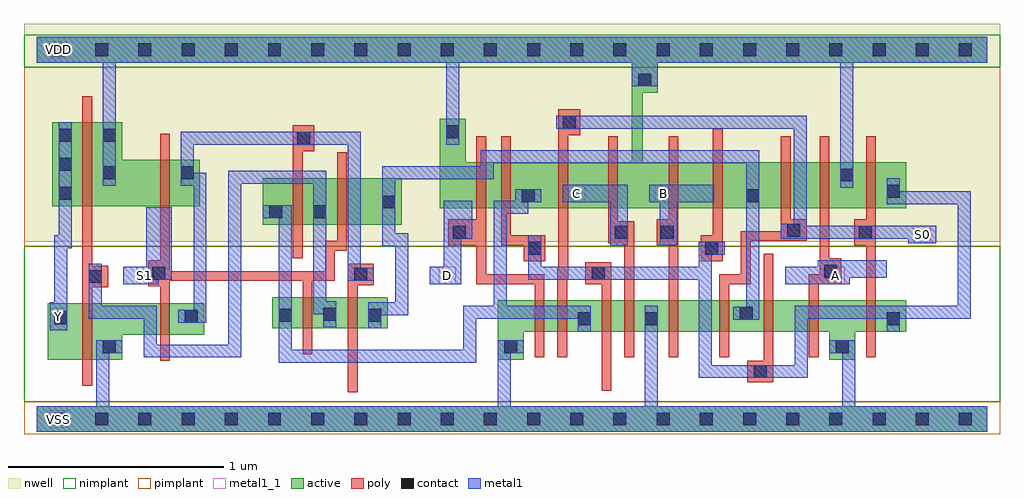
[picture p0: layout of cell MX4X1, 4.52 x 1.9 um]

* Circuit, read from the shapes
.subckt MX4X1 A B C D S0 S1 VDD VSS Y
M1 VSS n1 Y VSS nfet w=0.26u l=0.045u
M2 n2 S1 VSS VSS nfet w=0.145u l=0.045u
M3 n1 S1 n3 VSS nfet w=0.145u l=0.045u
M4 n4 n2 n1 VSS nfet w=0.145u l=0.045u
M5 n5 D VSS VSS nfet w=0.145u l=0.045u
M6 n3 S0 n5 VSS nfet w=0.145u l=0.045u
M7 n6 n7 n3 VSS nfet w=0.145u l=0.045u
M8 VSS C n6 VSS nfet w=0.145u l=0.045u
M9 n8 B VSS VSS nfet w=0.145u l=0.045u
M10 n4 S0 n8 VSS nfet w=0.145u l=0.045u
M11 n9 n7 n4 VSS nfet w=0.145u l=0.045u
M12 VSS A n9 VSS nfet w=0.145u l=0.045u
M13 n7 S0 VSS VSS nfet w=0.145u l=0.045u
M14 VDD n1 Y VDD pfet w=0.39u l=0.045u
M15 n2 S1 VDD VDD pfet w=0.215u l=0.045u
M16 n1 n2 n3 VDD pfet w=0.215u l=0.045u
M17 n4 S1 n1 VDD pfet w=0.215u l=0.045u
M18 n10 D VDD VDD pfet w=0.215u l=0.045u
M19 n3 n7 n10 VDD pfet w=0.215u l=0.045u
M20 n11 S0 n3 VDD pfet w=0.215u l=0.045u
M21 VDD C n11 VDD pfet w=0.215u l=0.045u
M22 n12 B VDD VDD pfet w=0.215u l=0.045u
M23 n4 n7 n12 VDD pfet w=0.215u l=0.045u
M24 n13 S0 n4 VDD pfet w=0.215u l=0.045u
M25 VDD A n13 VDD pfet w=0.215u l=0.045u
M26 n7 S0 VDD VDD pfet w=0.215u l=0.045u
.ends

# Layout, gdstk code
import gdstk
lib = gdstk.Library(unit=1e-6, precision=5e-10)
def R(c, l, rs):  # rectangles x0, y0, x1, y1
    for r in rs: c.add(gdstk.rectangle(r[:2], r[2:], *l))
def A(c, l, x, y, w, h, nx, ny, dx, dy):  # array of equal rectangles
    R(c, l, [(x+i*dx, y+j*dy, x+i*dx+w, y+j*dy+h) for i in range(nx) for j in range(ny)])
def P(c, l, *ps):  # polygons
    for p in ps: c.add(gdstk.Polygon(p, *l))
active = (1, 0)
nwell = (2, 0)
poly = (3, 0)
nimplant = (4, 0)
pimplant = (5, 0)
contact = (6, 0)
metal1 = (7, 0)
metal1_1 = (7, 1)

mx4x1 = lib.new_cell('MX4X1')
R(mx4x1, active, [(0,-0.06,4.4,0.06), (1.09,0.42,1.625,0.565), (1.045,0.9,1.69,1.115)])
P(mx4x1, active, [(0,1.77),(4.4,1.77),(4.4,1.65),(2.875,1.65),(2.875,1.51),(2.805,1.51),(2.805,1.19),(4.025,1.19),(4.025,0.975),(1.865,0.975),(1.865,1.39),(1.985,1.39),(1.985,1.19),(2.755,1.19),(2.755,1.65),(0,1.65)],
  [(0.07,1.375),(0.395,1.375),(0.395,1.2),(0.755,1.2),(0.755,0.985),(0.07,0.985)],
  [(0.05,0.535),(0.775,0.535),(0.775,0.39),(0.395,0.39),(0.395,0.275),(0.05,0.275)],
  [(2.135,0.55),(4.025,0.55),(4.025,0.405),(3.79,0.405),(3.79,0.275),(3.67,0.275),(3.67,0.405),(2.255,0.405),(2.255,0.275),(2.135,0.275)])
R(mx4x1, nwell, [(-0.06,0.82,4.46,1.83)])
P(mx4x1, poly, [(0.21,1.495),(0.255,1.495),(0.255,0.71),(0.33,0.71),(0.33,0.61),(0.255,0.61),(0.255,0.155),(0.21,0.155)],
  [(1.185,1.36),(1.285,1.36),(1.285,1.24),(1.23,1.24),(1.23,0.745),(1.185,0.745)],
  [(2.415,1.435),(2.515,1.435),(2.515,1.315),(2.46,1.315),(2.46,0.65),(2.455,0.65),(2.455,0.285),(2.41,0.285),(2.41,0.695),(2.415,0.695)],
  [(0.57,1.32),(0.615,1.32),(0.615,0.685),(1.335,0.685),(1.335,0.825),(1.39,0.825),(1.39,1.235),(1.435,1.235),(1.435,0.78),(1.38,0.78),(1.38,0.64),(1.275,0.64),(1.275,0.3),(1.23,0.3),(1.23,0.64),(0.615,0.64),(0.615,0.27),(0.57,0.27),(0.57,0.615),(0.515,0.615),(0.515,0.735),(0.57,0.735)],
  [(2.035,1.31),(2.08,1.31),(2.08,0.67),(2.35,0.67),(2.35,0.285),(2.305,0.285),(2.305,0.625),(2.035,0.625),(2.035,0.805),(1.905,0.805),(1.905,0.925),(2.035,0.925)],
  [(2.15,1.31),(2.195,1.31),(2.195,0.85),(2.355,0.85),(2.355,0.73),(2.255,0.73),(2.255,0.805),(2.15,0.805)],
  [(2.645,1.31),(2.69,1.31),(2.69,0.915),(2.765,0.915),(2.765,0.285),(2.72,0.285),(2.72,0.815),(2.645,0.815)],
  [(2.925,1.31),(2.97,1.31),(2.97,0.285),(2.925,0.285),(2.925,0.805),(2.87,0.805),(2.87,0.925),(2.925,0.925)],
  [(3.13,1.345),(3.175,1.345),(3.175,0.73),(3.075,0.73),(3.075,0.85),(3.13,0.85)],
  [(3.445,1.31),(3.49,1.31),(3.49,0.925),(3.565,0.925),(3.565,0.825),(3.305,0.825),(3.305,0.625),(3.205,0.625),(3.205,0.285),(3.16,0.285),(3.16,0.67),(3.26,0.67),(3.26,0.87),(3.445,0.87)],
  [(3.625,1.31),(3.67,1.31),(3.67,0.745),(3.725,0.745),(3.725,0.625),(3.62,0.625),(3.62,0.285),(3.575,0.285),(3.575,0.67),(3.625,0.67)],
  [(3.84,1.31),(3.885,1.31),(3.885,0.285),(3.84,0.285),(3.84,0.805),(3.785,0.805),(3.785,0.925),(3.84,0.925)],
  [(2.54,0.725),(2.66,0.725),(2.66,0.13),(2.615,0.13),(2.615,0.625),(2.54,0.625)],
  [(1.44,0.72),(1.56,0.72),(1.56,0.62),(1.485,0.62),(1.485,0.125),(1.44,0.125)],
  [(3.365,0.765),(3.41,0.765),(3.41,0.17),(3.29,0.17),(3.29,0.27),(3.365,0.27)])
R(mx4x1, nimplant, [(-0.06,0.08,4.46,0.8), (-0.06,1.63,4.46,1.78)])
R(mx4x1, pimplant, [(-0.06,-0.07,4.46,0.08), (-0.06,0.8,4.46,1.63)])
A(mx4x1, contact, 0.07, -0.03, 0.06, 0.06, 22, 2, 0.2, 1.71)
A(mx4x1, contact, 0.1, 1.015, 0.06, 0.06, 1, 3, 0, 0.135)
R(mx4x1, contact, [(3.32,0.19,3.38,0.25), (0.305,0.305,0.365,0.365), (2.165,0.305,2.225,0.365), (3.7,0.305,3.76,0.365), (2.505,0.435,2.565,0.495), (2.815,0.435,2.875,0.495), (3.935,0.435,3.995,0.495), (0.08,0.44,0.14,0.5), (0.685,0.445,0.745,0.505), (1.12,0.45,1.18,0.51), (1.535,0.45,1.595,0.51), (1.325,0.455,1.385,0.515), (3.255,0.46,3.315,0.52), (0.24,0.63,0.3,0.69), (1.47,0.64,1.53,0.7), (0.535,0.645,0.595,0.705), (2.57,0.645,2.63,0.705), (3.645,0.655,3.705,0.715), (2.275,0.76,2.335,0.82), (3.095,0.76,3.155,0.82), (1.925,0.835,1.985,0.895), (2.675,0.835,2.735,0.895), (2.89,0.835,2.95,0.895), (3.805,0.835,3.865,0.895), (3.475,0.845,3.535,0.905), (1.075,0.93,1.135,0.99), (1.28,0.93,1.34,0.99), (1.6,0.975,1.66,1.035), (2.245,1.005,2.305,1.065), (3.285,1.005,3.345,1.065), (3.935,1.025,3.995,1.085), (3.72,1.1,3.78,1.16), (0.305,1.11,0.365,1.17), (0.665,1.11,0.725,1.17), (1.205,1.27,1.265,1.33), (0.305,1.285,0.365,1.345), (1.895,1.3,1.955,1.36), (2.435,1.345,2.495,1.405), (2.785,1.54,2.845,1.6)])
P(mx4x1, metal1, [(0,1.77),(4.4,1.77),(4.4,1.65),(3.78,1.65),(3.78,1.07),(3.72,1.07),(3.72,1.65),(2.875,1.65),(2.875,1.54),(2.755,1.54),(2.755,1.65),(1.955,1.65),(1.955,1.27),(1.895,1.27),(1.895,1.65),(0.365,1.65),(0.365,1.08),(0.305,1.08),(0.305,1.65),(0,1.65)],
  [(0.1,1.375),(0.16,1.375),(0.16,0.79),(0.14,0.79),(0.14,0.41),(0.06,0.41),(0.06,0.54),(0.08,0.54),(0.08,0.85),(0.1,0.85)],
  [(0.665,1.33),(1.5,1.33),(1.5,0.7),(1.56,0.7),(1.56,0.64),(1.44,0.64),(1.44,1.27),(0.725,1.27),(0.725,1.14),(0.785,1.14),(0.785,0.445),(0.655,0.445),(0.655,0.505),(0.725,0.505),(0.725,1.08),(0.665,1.08)],
  [(2.405,1.405),(3.565,1.405),(3.565,0.895),(4.165,0.895),(4.165,0.815),(4.035,0.815),(4.035,0.835),(3.445,0.835),(3.445,0.905),(3.505,0.905),(3.505,1.345),(2.405,1.345)],
  [(0.885,1.15),(1.34,1.15),(1.34,0.545),(1.385,0.545),(1.385,0.425),(1.325,0.425),(1.325,0.485),(1.28,0.485),(1.28,1.09),(0.945,1.09),(0.945,0.285),(0.495,0.285),(0.495,0.465),(0.24,0.465),(0.24,0.72),(0.3,0.72),(0.3,0.525),(0.555,0.525),(0.555,0.345),(0.885,0.345)],
  [(0.505,0.98),(0.625,0.98),(0.625,0.645),(0.565,0.645),(0.565,0.625),(0.4,0.625),(0.4,0.705),(0.505,0.705)],
  [(0.275,0.365),(0.395,0.365),(0.395,0.305),(0.335,0.305),(0.335,0.06),(2.135,0.06),(2.135,0.365),(2.255,0.365),(2.255,0.305),(2.195,0.305),(2.195,0.06),(2.815,0.06),(2.815,0.525),(2.875,0.525),(2.875,0.06),(3.73,0.06),(3.73,0.305),(3.67,0.305),(3.67,0.365),(3.79,0.365),(3.79,0.06),(4.4,0.06),(4.4,-0.06),(0,-0.06),(0,0.06),(0.275,0.06)],
  [(2.215,1.065),(2.335,1.065),(2.335,1.005),(2.275,1.005),(2.275,0.95),(2.175,0.95),(2.175,0.525),(2.565,0.525),(2.565,0.405),(2.505,0.405),(2.505,0.465),(2.035,0.465),(2.035,0.26),(1.12,0.26),(1.12,0.93),(1.045,0.93),(1.045,0.99),(1.18,0.99),(1.18,0.32),(1.975,0.32),(1.975,0.525),(2.115,0.525),(2.115,1.01),(2.215,1.01)],
  [(2.055,1.245),(3.345,1.245),(3.345,0.46),(3.225,0.46),(3.225,0.52),(3.285,0.52),(3.285,1.185),(2.115,1.185),(2.115,1.11),(1.66,1.11),(1.66,0.86),(1.72,0.86),(1.72,0.48),(1.595,0.48),(1.595,0.42),(1.535,0.42),(1.535,0.54),(1.66,0.54),(1.66,0.8),(1.6,0.8),(1.6,1.17),(2.055,1.17)],
  [(1.885,1.01),(2.015,1.01),(2.015,0.835),(1.965,0.835),(1.965,0.625),(1.82,0.625),(1.82,0.705),(1.885,0.705)],
  [(2.435,1.085),(2.735,1.085),(2.735,0.805),(2.655,0.805),(2.655,1.005),(2.435,1.005)],
  [(2.835,1.085),(3.135,1.085),(3.135,1.005),(2.965,1.005),(2.965,0.805),(2.885,0.805),(2.885,1.005),(2.835,1.005)],
  [(3.935,1.115),(3.995,1.115),(3.995,1.055),(4.325,1.055),(4.325,0.465),(3.995,0.465),(3.995,0.405),(3.935,0.405),(3.935,0.465),(3.57,0.465),(3.57,0.19),(3.065,0.19),(3.065,0.645),(2.275,0.645),(2.275,0.85),(2.335,0.85),(2.335,0.705),(3.065,0.705),(3.065,0.82),(3.185,0.82),(3.185,0.76),(3.125,0.76),(3.125,0.25),(3.51,0.25),(3.51,0.525),(4.265,0.525),(4.265,0.995),(3.935,0.995)],
  [(3.615,0.735),(3.935,0.735),(3.935,0.655),(3.765,0.655),(3.765,0.625),(3.465,0.625),(3.465,0.705),(3.615,0.705)])
R(mx4x1, metal1_1, [(0.06,-0.04,0.14,0.04), (0.06,0.435,0.14,0.515), (0.46,0.625,0.54,0.705), (1.86,0.625,1.94,0.705), (3.66,0.625,3.74,0.705), (4.06,0.815,4.14,0.895), (2.46,1.005,2.54,1.085), (2.86,1.005,2.94,1.085), (0.06,1.67,0.14,1.75)])
mx4x1.add(gdstk.Label('Y', (0.1,0.475), layer=7, texttype=1))
mx4x1.add(gdstk.Label('S0', (4.1,0.855), layer=7, texttype=1))
mx4x1.add(gdstk.Label('A', (3.7,0.665), layer=7, texttype=1))
mx4x1.add(gdstk.Label('B', (2.9,1.045), layer=7, texttype=1))
mx4x1.add(gdstk.Label('C', (2.5,1.045), layer=7, texttype=1))
mx4x1.add(gdstk.Label('D', (1.9,0.665), layer=7, texttype=1))
mx4x1.add(gdstk.Label('S1', (0.5,0.665), layer=7, texttype=1))
mx4x1.add(gdstk.Label('VDD', (0.1,1.71), layer=7, texttype=1))
mx4x1.add(gdstk.Label('VSS', (0.1,0), layer=7, texttype=1))
mx4x1.add(gdstk.Label('MX4X1', (0,0), layer=63, texttype=0))

lib.write_gds('MX4X1.gds')
